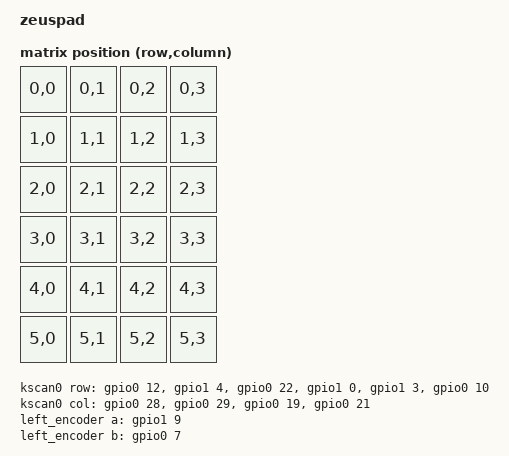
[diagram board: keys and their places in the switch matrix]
/*
 * Copyright (c) 2020 The ZMK Contributors
 *
 * SPDX-License-Identifier: MIT
 */

/dts-v1/;

#include <nordic/nrf52840_qiaa.dtsi>
#include <dt-bindings/zmk/matrix_transform.h>
#include <dt-bindings/led/led.h>

/ {
	model = "zeuspad";

	chosen {
		zephyr,code-partition = &code_partition;
		zephyr,sram = &sram0;
		zephyr,flash = &flash0;
		zmk,kscan = &kscan0;
		zmk,matrix_transform = &default_transform;
    zmk,underglow = &led_strip;
    zephyr,display = &oled;
	};

	default_transform: keymap_transform_0 {
        compatible = "zmk,matrix-transform";
        columns = <4>;
        rows = <6>;
        map = <
			RC(0,0) RC(0,1) RC(0,2) RC(0,3)
			RC(1,0) RC(1,1) RC(1,2) RC(1,3)
			RC(2,0) RC(2,1) RC(2,2) RC(2,3)
			RC(3,0) RC(3,1) RC(3,2) RC(3,3)
      RC(4,0) RC(4,1) RC(4,2) RC(4,3)
      RC(5,0) RC(5,1) RC(5,2) RC(5,3)
			>;
	};

	kscan0: kscan {
		compatible = "zmk,kscan-gpio-matrix";
		label = "KSCAN";
        diode-direction = "col2row";

		row-gpios
			= <&gpio0 12 (GPIO_ACTIVE_HIGH | GPIO_PULL_DOWN)>
			, <&gpio1 4 (GPIO_ACTIVE_HIGH | GPIO_PULL_DOWN)>
			, <&gpio0 22 (GPIO_ACTIVE_HIGH | GPIO_PULL_DOWN)>
			, <&gpio1 0 (GPIO_ACTIVE_HIGH | GPIO_PULL_DOWN)>
      , <&gpio1 3 (GPIO_ACTIVE_HIGH | GPIO_PULL_DOWN)>
      , <&gpio0 10 (GPIO_ACTIVE_HIGH | GPIO_PULL_DOWN)>
			;
		col-gpios
			= <&gpio0 28 GPIO_ACTIVE_HIGH>
			, <&gpio0 29 GPIO_ACTIVE_HIGH>
			, <&gpio0 19 GPIO_ACTIVE_HIGH>
			, <&gpio0 21 GPIO_ACTIVE_HIGH>
			;
	};

  ext-power {
		compatible = "zmk,ext-power-generic";
		label = "EXT_POWER";
		control-gpios = <&gpio0 4 GPIO_ACTIVE_LOW>;
    init-delay-ms = <10>;
	};

  left_encoder: encoder_left {
      compatible = "alps,ec11";
      label = "LEFT_ENCODER";
      a-gpios = <&gpio1 9 (GPIO_ACTIVE_HIGH | GPIO_PULL_UP)>;
      b-gpios = <&gpio0 7 (GPIO_ACTIVE_HIGH | GPIO_PULL_UP)>;
      resolution = <2>;
      status = "okay";
  };

	vbatt {
		compatible = "zmk,battery-voltage-divider";
		label = "BATTERY";
		io-channels = <&adc 3>;
		output-ohms = <2000000>;
    full-ohms = <(2000000 + 806000)>;
	};

};

&i2c0 {
  compatible = "nordic,nrf-twi";
  status = "okay";
  sda-pin = <2>;
  scl-pin = <3>;
  clock-frequency = <I2C_BITRATE_STANDARD>;

  oled: ssd1306@3c {
    compatible = "solomon,ssd1306fb";
    reg = <0x3c>;
    label = "DISPLAY";
    width = <128>;
    height = <32>;
    segment-offset = <0>;
    page-offset = <0>;
    display-offset = <0>;
    multiplex-ratio = <31>;
    segment-remap;
    com-invdir;
    com-sequential;
    prechargep = <0x22>;
  };
 };

&adc {
	status = "okay";
};

&gpiote {
	status = "okay";
};

&gpio0 {
	status = "okay";
};

&gpio1 {
	status = "okay";
};

&spi1 {
  compatible = "nordic,nrf-spim";
  status = "okay";
  mosi-pin = <25>;
  // Unused pins, needed for SPI definition, but not used by the ws2812 driver itself.
  sck-pin = <0>;
  miso-pin = <0>;

  led_strip: ws2812@0 {
    compatible = "worldsemi,ws2812-spi";
    label = "WS2812";

    /* SPI */
    reg = <0>; /* ignored, but necessary for SPI bindings */
    spi-max-frequency = <4000000>;

    /* WS2812 */
    chain-length = <10>; /* number of LEDs */
    spi-one-frame = <0x70>;
    spi-zero-frame = <0x40>;
    color-mapping = <LED_COLOR_ID_GREEN
				 LED_COLOR_ID_RED
				 LED_COLOR_ID_BLUE>;
  };
};

&usbd {
	compatible = "nordic,nrf-usbd";
	status = "okay";
};

&flash0 {
	/*
	 * For more information, see:
	 * http://docs.zephyrproject.org/latest/devices/dts/flash_partitions.html
	 */
	partitions {
		compatible = "fixed-partitions";
		#address-cells = <1>;
		#size-cells = <1>;

		sd_partition: partition@0 {
			label = "softdevice";
			reg = <0x00000000 0x00026000>;
		};
		code_partition: partition@26000 {
			label = "code_partition";
			reg = <0x00026000 0x000c6000>;
		};

		/*
		 * The flash starting at 0x000ec000 and ending at
		 * 0x000f3fff is reserved for use by the application.
		 */

		/*
		 * Storage partition will be used by FCB/LittleFS/NVS
		 * if enabled.
		 */
		storage_partition: partition@ec000 {
			label = "storage";
			reg = <0x000ec000 0x00008000>;
		};

		boot_partition: partition@f4000 {
			label = "adafruit_boot";
			reg = <0x000f4000 0x0000c000>;
		};
	};
};
